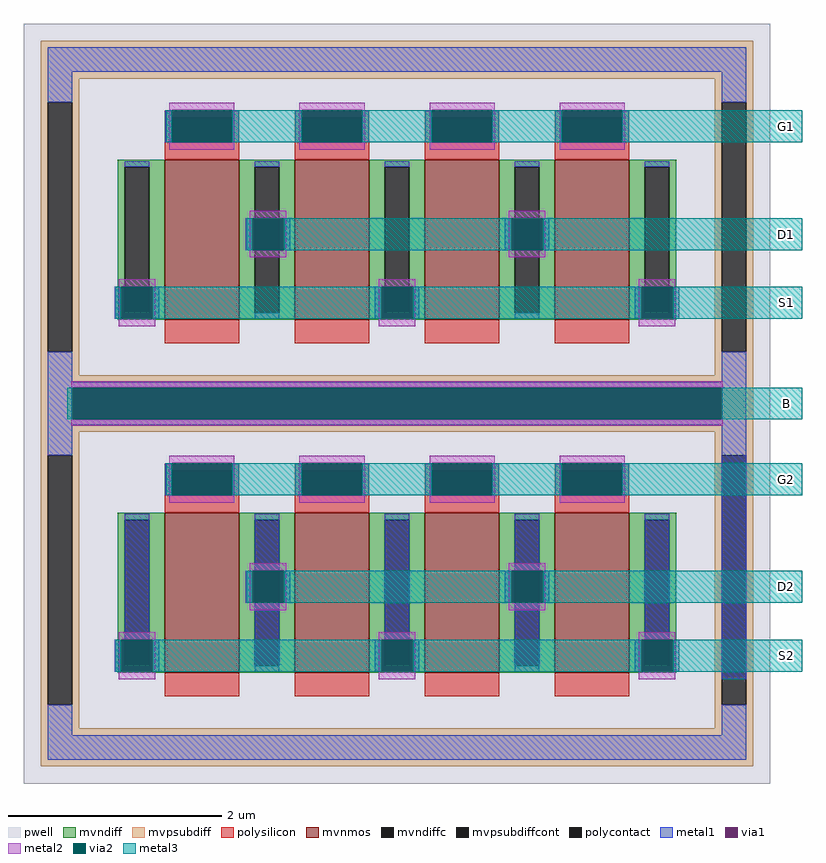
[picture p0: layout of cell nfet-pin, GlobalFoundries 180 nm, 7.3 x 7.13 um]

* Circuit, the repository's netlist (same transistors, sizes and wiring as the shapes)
** sch_path: /foss/designs/sscs-chipathon2025-LNA/designs/libs/core_single-fet/nfet-pin/nfet-pin.sch
.subckt nfet-pin B D1 G1 S1 D2 G2 S2
*.PININFO D1:B B:B G1:B S1:B D2:B G2:B S2:B
M17 D2 G2 S2 B nfet_06v0 L=0.70u W=1.5u nf=1 m=4
M18 D1 G1 S1 B nfet_06v0 L=0.70u W=1.5u nf=1 m=4
.ends

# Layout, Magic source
magic
tech gf180mcuD
magscale 1 10
<< metal1 >>
rect 197 -1298 209 -1238
rect 323 -1298 335 -1238
rect 441 -1298 453 -1238
rect 567 -1298 579 -1238
rect 685 -1298 697 -1238
rect 811 -1298 823 -1238
rect 929 -1298 941 -1238
rect 1055 -1298 1067 -1238
rect 348 -1500 360 -1440
rect 420 -1500 432 -1440
rect 834 -1500 846 -1440
rect 906 -1500 918 -1440
rect 102 -1629 114 -1569
rect 174 -1629 186 -1569
rect 590 -1629 602 -1569
rect 662 -1629 674 -1569
rect 1078 -1629 1090 -1569
rect 1150 -1629 1162 -1569
rect 13 -1818 23 -1758
rect 1241 -1818 1251 -1758
rect 197 -1960 209 -1900
rect 323 -1960 335 -1900
rect 441 -1960 453 -1900
rect 567 -1960 579 -1900
rect 685 -1960 697 -1900
rect 811 -1960 823 -1900
rect 929 -1960 941 -1900
rect 1055 -1960 1067 -1900
rect 121 -2231 167 -1995
rect 365 -2102 411 -1995
rect 348 -2162 360 -2102
rect 420 -2162 432 -2102
rect 102 -2291 114 -2231
rect 174 -2291 186 -2231
rect 365 -2291 411 -2162
rect 609 -2231 655 -1995
rect 853 -2102 899 -1995
rect 834 -2162 846 -2102
rect 906 -2162 918 -2102
rect 590 -2291 602 -2231
rect 662 -2291 674 -2231
rect 853 -2291 899 -2162
rect 1097 -2231 1143 -1995
rect 1078 -2291 1090 -2231
rect 1150 -2291 1162 -2231
rect 1241 -2305 1287 -1886
<< via1 >>
rect 209 -1298 323 -1238
rect 453 -1298 567 -1238
rect 697 -1298 811 -1238
rect 941 -1298 1055 -1238
rect 360 -1500 420 -1440
rect 846 -1500 906 -1440
rect 114 -1629 174 -1569
rect 602 -1629 662 -1569
rect 1090 -1629 1150 -1569
rect 23 -1818 1241 -1758
rect 209 -1960 323 -1900
rect 453 -1960 567 -1900
rect 697 -1960 811 -1900
rect 941 -1960 1055 -1900
rect 360 -2162 420 -2102
rect 114 -2291 174 -2231
rect 846 -2162 906 -2102
rect 602 -2291 662 -2231
rect 1090 -2291 1150 -2231
<< metal2 >>
rect 205 -1238 327 -1224
rect 205 -1298 209 -1238
rect 323 -1298 327 -1238
rect 205 -1312 327 -1298
rect 449 -1238 571 -1224
rect 449 -1298 453 -1238
rect 567 -1298 571 -1238
rect 449 -1312 571 -1298
rect 693 -1238 815 -1224
rect 693 -1298 697 -1238
rect 811 -1298 815 -1238
rect 693 -1312 815 -1298
rect 937 -1238 1059 -1224
rect 937 -1298 941 -1238
rect 1055 -1298 1059 -1238
rect 937 -1312 1059 -1298
rect 356 -1440 424 -1426
rect 356 -1500 360 -1440
rect 420 -1500 424 -1440
rect 356 -1514 424 -1500
rect 842 -1440 910 -1426
rect 842 -1500 846 -1440
rect 906 -1500 910 -1440
rect 842 -1514 910 -1500
rect 110 -1569 178 -1555
rect 110 -1629 114 -1569
rect 174 -1629 178 -1569
rect 110 -1643 178 -1629
rect 598 -1569 666 -1555
rect 598 -1629 602 -1569
rect 662 -1629 666 -1569
rect 598 -1643 666 -1629
rect 1086 -1569 1154 -1555
rect 1086 -1629 1090 -1569
rect 1150 -1629 1154 -1569
rect 1086 -1643 1154 -1629
rect 21 -1758 1243 -1746
rect 21 -1818 23 -1758
rect 1241 -1818 1243 -1758
rect 21 -1830 1243 -1818
rect 205 -1900 327 -1886
rect 205 -1960 209 -1900
rect 323 -1960 327 -1900
rect 205 -1974 327 -1960
rect 449 -1900 571 -1886
rect 449 -1960 453 -1900
rect 567 -1960 571 -1900
rect 449 -1974 571 -1960
rect 693 -1900 815 -1886
rect 693 -1960 697 -1900
rect 811 -1960 815 -1900
rect 693 -1974 815 -1960
rect 937 -1900 1059 -1886
rect 937 -1960 941 -1900
rect 1055 -1960 1059 -1900
rect 937 -1974 1059 -1960
rect 356 -2102 424 -2088
rect 356 -2162 360 -2102
rect 420 -2162 424 -2102
rect 356 -2176 424 -2162
rect 842 -2102 910 -2088
rect 842 -2162 846 -2102
rect 906 -2162 910 -2102
rect 842 -2176 910 -2162
rect 110 -2231 178 -2217
rect 110 -2291 114 -2231
rect 174 -2291 178 -2231
rect 110 -2305 178 -2291
rect 598 -2231 666 -2217
rect 598 -2291 602 -2231
rect 662 -2291 666 -2231
rect 598 -2305 666 -2291
rect 1086 -2231 1154 -2217
rect 1086 -2291 1090 -2231
rect 1150 -2291 1154 -2231
rect 1086 -2305 1154 -2291
<< via2 >>
rect 209 -1298 323 -1238
rect 453 -1298 567 -1238
rect 697 -1298 811 -1238
rect 941 -1298 1055 -1238
rect 360 -1500 420 -1440
rect 846 -1500 906 -1440
rect 114 -1629 174 -1569
rect 602 -1629 662 -1569
rect 1090 -1629 1150 -1569
rect 23 -1818 1241 -1758
rect 209 -1960 323 -1900
rect 453 -1960 567 -1900
rect 697 -1960 811 -1900
rect 941 -1960 1055 -1900
rect 360 -2162 420 -2102
rect 846 -2162 906 -2102
rect 114 -2291 174 -2231
rect 602 -2291 662 -2231
rect 1090 -2291 1150 -2231
<< metal3 >>
rect 199 -1298 209 -1238
rect 323 -1298 453 -1238
rect 567 -1298 697 -1238
rect 811 -1298 941 -1238
rect 1055 -1298 1392 -1238
rect 350 -1500 360 -1440
rect 420 -1500 846 -1440
rect 906 -1500 1392 -1440
rect 104 -1629 114 -1569
rect 174 -1629 602 -1569
rect 662 -1629 1090 -1569
rect 1150 -1629 1392 -1569
rect 13 -1818 23 -1758
rect 1241 -1818 1392 -1758
rect 199 -1960 209 -1900
rect 323 -1960 453 -1900
rect 567 -1960 697 -1900
rect 811 -1960 941 -1900
rect 1055 -1960 1392 -1900
rect 350 -2162 360 -2102
rect 420 -2162 846 -2102
rect 906 -2162 1392 -2102
rect 104 -2291 114 -2231
rect 174 -2291 602 -2231
rect 662 -2291 1090 -2231
rect 1150 -2291 1392 -2231
use nfet_06v0_52FGQA  M17 nfet-vss
transform 1 0 632 0 1 -2119
box -700 -382 700 382
use nfet_06v0_52FGQA  nfet_06v0_52FGQA_0
transform 1 0 632 0 1 -1457
box -700 -382 700 382
<< labels >>
flabel metal3 1332 -1298 1392 -1238 0 FreeSans 320 0 0 0 G1
port 0 nsew
flabel metal3 1332 -1500 1392 -1440 0 FreeSans 320 0 0 0 D1
port 2 nsew
flabel metal3 1332 -1629 1392 -1569 0 FreeSans 320 0 0 0 S1
port 3 nsew
flabel metal3 1332 -1960 1392 -1900 0 FreeSans 320 0 0 0 G2
port 5 nsew
flabel metal3 1332 -2162 1392 -2102 0 FreeSans 320 0 0 0 D2
port 6 nsew
flabel metal3 1332 -2291 1392 -2231 0 FreeSans 320 0 0 0 S2
port 7 nsew
flabel metal3 1332 -1818 1392 -1758 0 FreeSans 320 0 0 0 B
port 9 nsew
<< end >>

# cell nfet_06v0_52FGQA: kit device nfet_06v0, w 1.5 l 0.7 m 1 nf 4 diffcov 100 polycov 100 guard 1 glc 1 grc 1 gtc 0 gbc 0 tbcov 100 rlcov 100 topc 1 botc 0 poverlap 0 doverlap 1 lmin 0.6 wmin 0.3 class mosfet full_metal 1 compatible {nfet_03v3 nfet_06v0 nfet_06v0_nvt}
